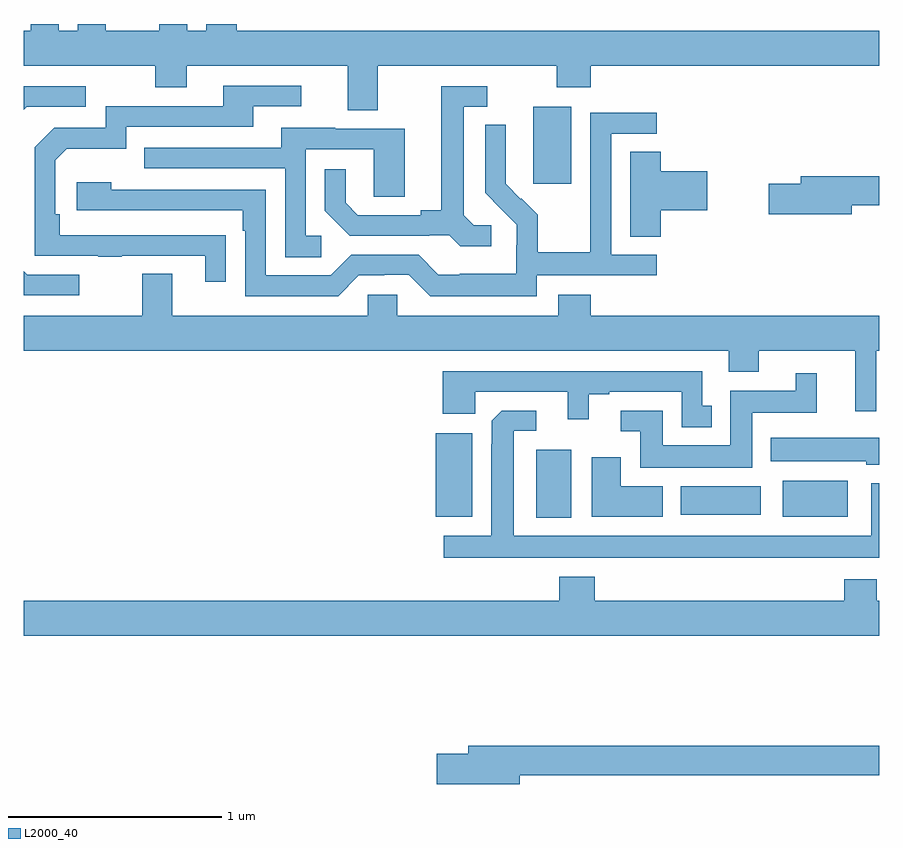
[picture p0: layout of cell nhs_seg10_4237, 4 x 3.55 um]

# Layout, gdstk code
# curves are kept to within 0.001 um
import gdstk
lib = gdstk.Library(unit=1e-6, precision=1e-09)
def R(c, l, rs):  # rectangles x0, y0, x1, y1
    for r in rs: c.add(gdstk.rectangle(r[:2], r[2:], *l))
def P(c, l, *ps):  # polygons
    for p in ps: c.add(gdstk.Polygon(p, *l))
L2000_40 = (2000, 40)

nhs_seg10_4237 = lib.new_cell('nhs_seg10_4237')
R(nhs_seg10_4237, L2000_40, [(349.397,1310.192,349.561,1310.509), (348.926,1310.195,349.096,1310.587), (350.549,1310.195,350.854,1310.365), (350.072,1310.204,350.446,1310.338), (349.382,1311.753,349.561,1312.114)])
P(nhs_seg10_4237, L2000_40, [(348.515,1312.096),(348.655,1312.096),(348.655,1312.304),(349.492,1312.304),(349.492,1312.205),(349.652,1312.205),(349.652,1312.304),(351,1312.304),(351,1312.468),(347.996,1312.468),(347.996,1312.5),(347.852,1312.5),(347.852,1312.468),(347.764,1312.468),(347.764,1312.5),(347.633,1312.5),(347.633,1312.468),(347.383,1312.468),(347.383,1312.5),(347.252,1312.5),(347.252,1312.468),(347.164,1312.468),(347.164,1312.5),(347.033,1312.5),(347.033,1312.468),(347,1312.468),(347,1312.304),(347.614,1312.304),(347.614,1312.205),(347.761,1312.205),(347.761,1312.304),(348.515,1312.304)],
  [(347.945,1311.512),(347.168,1311.513),(347.168,1311.61),(347.148,1311.61),(347.148,1311.864),(347.201,1311.917),(347.478,1311.917),(347.478,1312.02),(348.073,1312.02),(348.073,1312.116),(348.298,1312.116),(348.298,1312.212),(347.933,1312.212),(347.933,1312.116),(347.382,1312.116),(347.382,1312.014),(347.142,1312.014),(347.052,1311.924),(347.052,1311.417),(347.347,1311.417),(347.347,1311.412),(347.459,1311.412),(347.459,1311.417),(347.849,1311.417),(347.849,1311.294),(347.945,1311.294)],
  [(347.013,1312.113),(347.29,1312.113),(347.29,1312.209),(347,1312.209),(347,1312.1)],
  [(349.186,1311.558),(349.104,1311.558),(349.057,1311.605),(349.057,1312.113),(349.168,1312.113),(349.168,1312.209),(348.953,1312.209),(348.953,1311.629),(348.857,1311.629),(348.857,1311.606),(348.562,1311.606),(348.505,1311.663),(348.505,1311.82),(348.408,1311.82),(348.408,1311.626),(348.524,1311.51),(348.896,1311.51),(348.896,1311.513),(348.99,1311.513),(349.042,1311.461),(349.186,1311.461)],
  [(349.398,1311.324),(349.96,1311.324),(349.96,1311.42),(349.746,1311.42),(349.746,1311.987),(349.96,1311.987),(349.96,1312.086),(349.65,1312.086),(349.65,1311.656),(349.648,1311.656),(349.648,1311.433),(349.403,1311.433),(349.403,1311.607),(349.326,1311.684),(349.323,1311.681),(349.253,1311.752),(349.254,1312.028),(349.158,1312.028),(349.158,1311.71),(349.304,1311.562),(349.304,1311.465),(349.302,1311.465),(349.302,1311.331),(349.039,1311.331),(349.039,1311.327),(348.939,1311.327),(348.846,1311.42),(348.531,1311.42),(348.435,1311.324),(348.132,1311.324),(348.132,1311.726),(347.408,1311.726),(347.408,1311.76),(347.247,1311.76),(347.247,1311.63),(348.023,1311.63),(348.023,1311.533),(348.036,1311.533),(348.036,1311.228),(348.471,1311.228),(348.567,1311.324),(348.686,1311.324),(348.686,1311.327),(348.801,1311.327),(348.901,1311.227),(349.398,1311.227)],
  [(348.391,1311.51),(348.318,1311.51),(348.318,1311.915),(348.636,1311.915),(348.636,1311.691),(348.781,1311.691),(348.781,1312.011),(348.457,1312.011),(348.457,1312.015),(348.203,1312.015),(348.203,1311.921),(347.563,1311.921),(347.563,1311.825),(348.222,1311.825),(348.222,1311.409),(348.391,1311.409)],
  [(349.979,1311.629),(350.197,1311.629),(350.197,1311.812),(349.979,1311.812),(349.979,1311.902),(349.835,1311.902),(349.835,1311.505),(349.979,1311.505)],
  [(350.872,1311.652),(351,1311.652),(351,1311.788),(350.633,1311.788),(350.633,1311.752),(350.484,1311.752),(350.484,1311.61),(350.872,1311.61)],
  [(347.26,1311.327),(347.016,1311.327),(347,1311.343),(347,1311.231),(347.26,1311.231)],
  [(349.652,1311.235),(349.499,1311.235),(349.499,1311.136),(348.747,1311.136),(348.747,1311.234),(348.609,1311.234),(348.609,1311.136),(347.695,1311.136),(347.695,1311.331),(347.555,1311.331),(347.555,1311.136),(347,1311.136),(347,1310.972),(350.297,1310.972),(350.297,1310.873),(350.437,1310.873),(350.437,1310.972),(350.888,1310.972),(350.888,1310.688),(350.987,1310.688),(350.987,1310.972),(351,1310.972),(351,1311.136),(349.652,1311.136)],
  [(350.218,1310.715),(350.172,1310.715),(350.172,1310.877),(348.959,1310.877),(348.959,1310.678),(349.11,1310.678),(349.11,1310.781),(349.544,1310.781),(349.544,1310.652),(349.642,1310.652),(349.642,1310.769),(349.738,1310.769),(349.738,1310.781),(350.076,1310.781),(350.076,1310.615),(350.218,1310.615)],
  [(350.407,1310.681),(350.708,1310.681),(350.708,1310.866),(350.609,1310.866),(350.609,1310.785),(350.303,1310.785),(350.303,1310.53),(349.987,1310.53),(349.987,1310.691),(349.791,1310.691),(349.791,1310.595),(349.883,1310.595),(349.883,1310.426),(350.407,1310.426)],
  [(351,1310.353),(350.964,1310.353),(350.964,1310.107),(349.291,1310.107),(349.291,1310.598),(349.396,1310.598),(349.396,1310.691),(349.234,1310.691),(349.188,1310.645),(349.187,1310.107),(348.963,1310.107),(348.963,1310.003),(351,1310.003)],
  [(351,1310.566),(350.492,1310.566),(350.492,1310.456),(350.94,1310.456),(350.94,1310.438),(351,1310.438)],
  [(349.987,1310.338),(349.792,1310.338),(349.792,1310.473),(349.655,1310.473),(349.655,1310.195),(349.987,1310.195)],
  [(351,1309.804),(350.989,1309.804),(350.989,1309.903),(350.837,1309.903),(350.837,1309.804),(349.67,1309.804),(349.67,1309.915),(349.505,1309.915),(349.505,1309.804),(347,1309.804),(347,1309.64),(351,1309.64)],
  [(349.318,1308.988),(351,1308.988),(351,1309.124),(349.079,1309.124),(349.079,1309.088),(348.93,1309.088),(348.93,1308.946),(349.318,1308.946)])

lib.write_gds('nhs_seg10_4237.gds')
